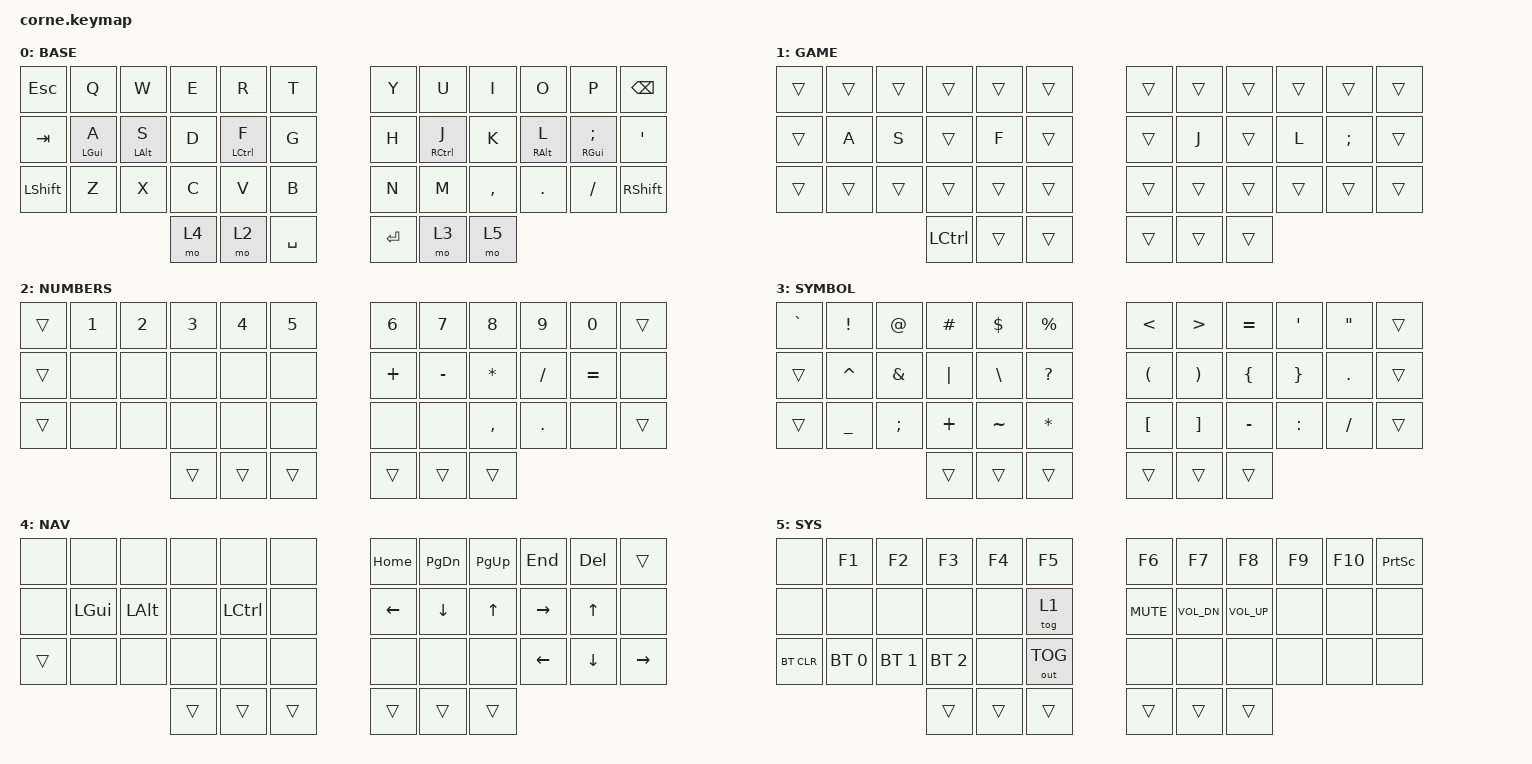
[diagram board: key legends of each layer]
/*
 * Corne 3x6 TypeScript Layout with Home Row Mods
 * Layer order: 0=BASE 1=GAME 2=NUM 3=SYM 4=NAV 5=SYS
 * Thumb cluster: NAV | NUM | SPC | RET | SYM | SYS
 *
 * Symbol Layer Design (SYM = rechter Daumen):
 *
 * Frequenz-Analyse: 784 TS/TSX Dateien aus ycm2
 *   . 20468  ( 16415  ) 16414  ' 14168  / 11265
 *   { 10083  } 10083  : 8195   = 8159   - 7823
 *   > 5589   < 2725   _ 2482   [ 1106   ] 1106
 *   ? 831    ; 12628 (Prettier fügt auto ein → de facto niedrig)
 *
 * Prinzipien:
 *   1. Home Row rechts: ( ) { } .  — Top-5 auf besten Positionen
 *   2. Numbers-Konsistenz: ! @ # $ % auf Q W E R T (Shift+1-5)
 *                          ^ & auf Y U (Shift+6-7)
 *   3. => als Rollover: > (Y-Index-Top) dann = (I-Ring-Top), rechte Hand
 *   4. - nach rechts (N-Bottom): kein Handwechsel mehr
 *   5. ' auf O-Top (war P-Top): eine Spalte näher, Rang 4
 *
 * SPDX-License-Identifier: GPL-2.0-or-later
 */

#include <behaviors.dtsi>
#include <dt-bindings/zmk/bt.h>
#include <dt-bindings/zmk/keys.h>
#include <dt-bindings/zmk/outputs.h>

// 42-Key Standard Corne — hold-trigger ohne Daumen-Positionen
#define HM_L_POSITIONS  6  7  8  9 10 11 18 19 20 21 22 23 30 31 32 33 34 35
#define HM_R_POSITIONS  0  1  2  3  4  5 12 13 14 15 16 17 24 25 26 27 28 29

#include "corne_common.dtsi"

/ {
    keymap {
        compatible = "zmk,keymap";

        // Layer 0: BASE (QWERTY mit Home Row Mods)

        base_layer {
            label = "BASE";
            bindings = <
&kp ESC    &kp Q          &kp W         &kp E          &kp R         &kp T        &kp Y    &kp U         &kp I          &kp O         &kp P             &kp BSPC
&kp TAB    &hm_l LGUI A   &hm_l LALT S  &kp D          &hm_l LCTRL F &kp G        &kp H    &hm_r RCTRL J &kp K          &hm_r RALT L  &hm_r RGUI SEMI   &kp SQT
&kp LSHFT  &kp Z          &kp X         &kp C          &kp V         &kp B        &kp N    &kp M         &kp COMMA      &kp DOT       &kp FSLH          &kp RSHFT
                                        &mo 4          &mo 2         &kp SPACE    &kp RET  &mo 3         &mo 5
            >;
        };

        // Layer 1: GAME (CS) — Toggle: SYS + G
        //
        // Home Row Mods aus (A S F / J L ; sind normale Tasten),
        // LCTRL (Ducken) auf dem äußeren linken Daumen statt NAV.
        // Liegt direkt über BASE, damit NUM/SYM/SYS darüber unverändert bleiben.

        game_layer {
            label = "GAME";
            bindings = <
&trans  &trans  &trans  &trans  &trans  &trans    &trans  &trans  &trans  &trans  &trans    &trans
&trans  &kp A   &kp S   &trans  &kp F   &trans    &trans  &kp J   &trans  &kp L   &kp SEMI  &trans
&trans  &trans  &trans  &trans  &trans  &trans    &trans  &trans  &trans  &trans  &trans    &trans
                        &kp LCTRL  &trans  &trans    &trans  &trans  &trans
            >;
        };

        // Layer 2: NUMBERS
        //
        // Top:   1-5 links, 6-0 rechts (wie QWERTY Zahlenreihe)
        // Home:  Operatoren: + - * / =
        // Bot:   , . für Dezimalzahlen rechts

        number_layer {
            label = "NUMBERS";
            bindings = <
&trans  &kp N1  &kp N2  &kp N3  &kp N4  &kp N5    &kp N6    &kp N7     &kp N8     &kp N9    &kp N0     &trans
&trans  &none   &none   &none   &none   &none     &kp PLUS  &kp MINUS  &kp STAR   &kp FSLH  &kp EQUAL  &none
&trans  &none   &none   &none   &none   &none     &none     &none      &kp COMMA  &kp DOT   &none      &trans
                        &trans  &trans  &trans    &trans    &trans     &trans
            >;
        };

        // Layer 3: SYMBOL (Rechtshänder-optimiert für TypeScript/React)
        //
        // SYM = rechter Daumen → Tipp-Hand = rechte Finger
        //
        // Rechte Seite:
        //   Top:  <  >  =  '  "    ← <> Paar benachbart (Roll), => Rollover Index→Ring
        //   Home: (  )  {  }  .    ← Top-5 auf Home Row, null Streckung
        //   Bot:  [  ]  -  :  /    ← [] Paar benachbart (Roll), - : / häufige Operatoren
        //
        // Linke Seite:
        //   ESC:  `                ← Backtick direkt (Template Literals häufiger als ~)
        //   Top:  !  @  #  $  %   ← Shift+1-5, gleiche Position wie Zahlen im NUM Layer
        //   Home: ^  &  |  \  ?   ← ^ auf Pinky-Home, Union, Pipe, Optional
        //   Bot:  _  ;  +  ~  *   ← ~ Shell, * Multiplikation/Spread
        //
        // Rolls: <> (Y+U), => (Y→I), () (H+J), {} (K+L), [] (N+M)

        symbol_layer {
            label = "SYMBOL";
            bindings = <
&kp GRAVE  &kp EXCL   &kp AT    &kp HASH  &kp DLLR   &kp PRCNT    &kp LT    &kp GT    &kp EQUAL  &kp SQT    &kp DQT   &trans
&trans     &kp CARET  &kp AMPS  &kp PIPE  &kp BSLH   &kp QMARK    &kp LPAR  &kp RPAR  &kp LBRC   &kp RBRC   &kp DOT   &trans
&trans     &kp UNDER  &kp SEMI  &kp PLUS  &kp TILDE  &kp STAR     &kp LBKT  &kp RBKT  &kp MINUS  &kp COLON  &kp FSLH  &trans
                                &trans    &trans     &trans       &trans    &trans    &trans
            >;
        };

        // Layer 4: NAVIGATION (Vim-style + macOS shortcuts)

        nav_layer {
            label = "NAV";
            bindings = <
&none   &none      &none     &none      &none     &none     &kp HOME  &kp PG_DN  &kp PG_UP  &kp END    &kp DEL       &trans
&none   &kp LGUI   &kp LALT  &none      &kp LCTRL &none     &kp LEFT  &kp DOWN   &kp UP     &kp RIGHT  &kp UP_ARROW  &none
&trans  &none      &none     &none      &none     &none     &none     &none      &none      &kp LEFT   &kp DOWN      &kp RIGHT
                             &trans     &trans    &trans    &trans    &trans     &trans
            >;
        };

        // Layer 5: SYSTEM (F-Keys, Volume, Bluetooth)
        //
        // Top:   F1-F5 links | F6-F10 rechts, Print auf BSPC-Slot
        // Home:  Mute Vol- Vol+ rechts, GAME-Toggle auf G
        // Bot:   BT_CLR BT0 BT1 BT2 links, USB/BT-Toggle auf B

        system_layer {
            label = "SYS";
            bindings = <
&none       &kp F1        &kp F2        &kp F3  &kp F4  &kp F5    &kp F6      &kp F7        &kp F8        &kp F9  &kp F10  &kp PSCRN
&none       &none         &none         &none   &none   &tog 1    &kp C_MUTE  &kp C_VOL_DN  &kp C_VOL_UP  &none   &none    &none
&bt BT_CLR  &bt BT_SEL 0  &bt BT_SEL 1  &bt BT_SEL 2  &none   &out OUT_TOG     &none       &none         &none         &none   &none    &none
                                        &trans  &trans  &trans    &trans      &trans        &trans
            >;
        };
    };
};
